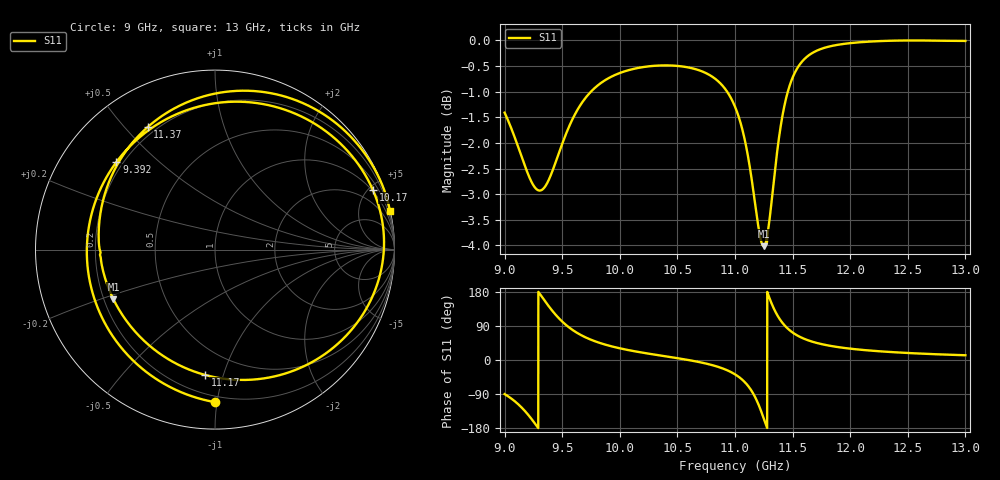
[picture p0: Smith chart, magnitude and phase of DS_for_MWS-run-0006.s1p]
! TOUCHSTONE file generated by CST DESIGN STUDIO
! Date and time: Tue Feb  4 13:04:45 2025
! Project name: C:\Work\MatlabApps\UnitCellOptimizationMatlab\CST\unitcell.cst
! Tree item: Tasks\Sweep1\SPara1\S-Parameters
! Header version: 2024
! Port assignment regex: !\s*Touchstone port\s*([0-9]+)\s*=\s*(CST MWS port|CST DES external port|CST DES block port)\s*(.+)\s* \(\"(.*)\"\)(\s*mode\s*([0-9]+))?.*
! Touchstone port assignment:
! Touchstone port 1 = CST DES external port 1 ("")
# GHz S MA R 50
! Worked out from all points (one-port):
!   4001 points, 9 GHz to 13 GHz, reference 50 ohm
!   lowest |S11| = -4.0 dB at 11.25 GHz (marker M1), VSWR 4.41, Z = 11.9 - j11 ohm
!   |S11| at or under -10 dB: nowhere
!   S11 on the Smith chart (normalised r, x): 9 GHz: 0.16, -0.99; 9.392 GHz: 0.17, +0.37; 10.17 GHz: 0.92, +5.31; 11.17 GHz: 0.32, -0.87; 11.37 GHz: 0.17, +0.58; 13 GHz: 0.07, +9.12
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9  0.85 -90.0
9.13  0.7802 -120.1
9.247  0.723 -161.0
9.318  0.7142 169.1
9.392  0.7347 138.3
9.5  0.7926 101.4
9.591  0.8384 79.0
9.719  0.8833 57.5
9.845  0.91 43.2
10  0.9291 30.9
10.171  0.9403 20.7
10.5  0.944 4.8
10.817  0.9191 -14.8
11  0.8615 -37.8
11.088  0.7967 -59.4
11.169  0.7002 -94.6
11.209  0.6517 -121.1
11.249  0.63 -153.9
11.276  0.6415 -177.4
11.302  0.672 161.2
11.366  0.7788 118.8
11.424  0.8581 93.6
11.5  0.9196 72.5
11.584  0.9538 58.1
11.687  0.974 46.9
12  0.9935 29.9
12.5  0.9995 18.5
13  0.9984 12.5
